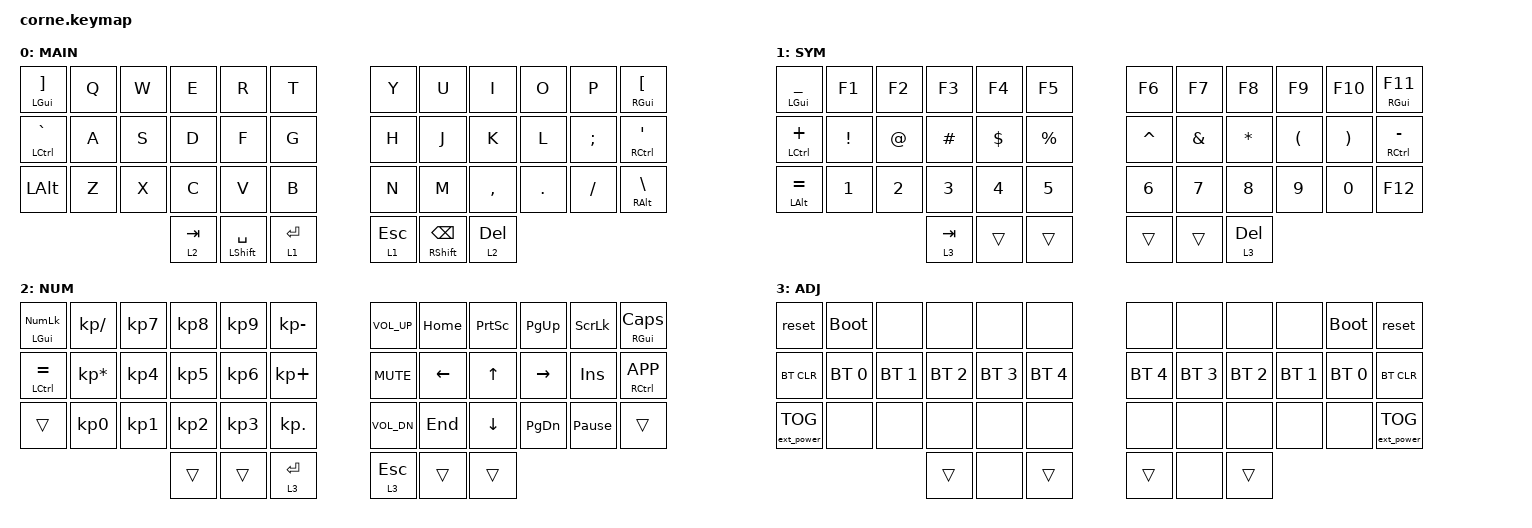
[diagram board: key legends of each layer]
/*
 * Copyright (c) 2020 The ZMK Contributors
 *
 * SPDX-License-Identifier: MIT
 */

#include <behaviors.dtsi>
#include <dt-bindings/zmk/keys.h>
#include <dt-bindings/zmk/bt.h>
#include <dt-bindings/zmk/ext_power.h>

#define DEF 0
#define LWR 1
#define RSE 2
#define ADJ 3

&lt {
    quick_tap_ms = <200>;
};

&mt {
    quick_tap_ms = <200>;
};

/ {
    keymap {
        compatible = "zmk,keymap";

        MAIN {
            label = "MAIN";

            // -----------------------------------------------------------------------------------------
            // |   ~  |  Q  |  W  |  E  |  R  |  T  |   |  Y  |  U   |  I  |  O  |  P  |  [   |
            // | CTRL |  A  |  S  |  D  |  F  |  G  |   |  H  |  J   |  K  |  L  |  ;  |CTRL/'|
            // | LALT |  Z  |  X  |  C  |  V  |  B  |   |  N  |  M   |  ,  |  .  |  /  | RALT |
            //                    | RSE | SPC | LWR |   | LWR | BKSP | RSE |

            bindings = <
   &mt LGUI RBKT   &kp Q   &kp W      &kp E            &kp R      &kp T      &kp Y           &kp U      &kp I    &kp O     &kp P  &mt RGUI LBKT
 &mt LCTRL GRAVE   &kp A   &kp S      &kp D            &kp F      &kp G      &kp H           &kp J      &kp K    &kp L  &kp SEMI  &mt RCTRL SQT
        &kp LALT   &kp Z   &kp X      &kp C            &kp V      &kp B      &kp N           &kp M  &kp COMMA  &kp DOT  &kp FSLH  &mt RALT BSLH
                                  &lt 2 TAB  &mt LSHFT SPACE  &lt 1 RET  &lt 1 ESC  &mt RSHFT BSPC  &lt 2 DEL
            >;
        };

        SYM {
            label = "SYM";

            // -----------------------------------------------------------------------------------------
            // |  _  |  F1 |  F2 |  F3 |  F4 |  F5 |   |  F6 |  F7 |  F8 |  F9 | F10 | F11 | F12 |
            // |  +  |  !  |  @  |  #  |  $  |  %  |   |  ^  |  &  |  *  |  (  |  )  |  -  |
            // |  =  |  1  |  2  |  3  |  4  |  5  |   |  6  |  7  |  8  |  9  |  0  |     |
            //              | GUI |     | SPC |   | ENT |     | ALT |

            bindings = <
 &mt LGUI UNDER    &kp F1  &kp F2     &kp F3    &kp F4     &kp F5     &kp F6    &kp F7     &kp F8    &kp F9   &kp F10     &mt RGUI F11
 &mt LCTRL PLUS  &kp EXCL  &kp AT   &kp HASH  &kp DLLR  &kp PRCNT  &kp CARET  &kp AMPS   &kp STAR  &kp LPAR  &kp RPAR  &mt RCTRL MINUS
 &mt LALT EQUAL    &kp N1  &kp N2     &kp N3    &kp N4     &kp N5     &kp N6    &kp N7     &kp N8    &kp N9    &kp N0          &kp F12
                                   &lt 3 TAB    &trans     &trans     &trans    &trans  &lt 3 DEL
            >;
        };

        NUM {
            label = "NUM";

            // -----------------------------------------------------------------------------------------
            // | NMLK |  /  |  7  |  8  |  9  |  -  |   | VOLU| HOME| PRSC| PGUP| SCLK| CLCK|
            // | CTRL |  *  |  4  |  5  |  6  |  +  |   | MUT | LEFT|  UP | RGHT| INS | APP |
            // |      |  0  |  1  |  2  |  3  |  .  |   | VOLD| END | DOWN| PGDN| PAUS|     |
            //                          |     |     | ADJ |   | ADJ |     |     |

            bindings = <
 &mt LGUI KP_NUM     &kp KP_SLASH  &kp KP_N7  &kp KP_N8  &kp KP_N9  &kp KP_MINUS  &kp C_VOL_UP  &kp HOME  &kp PSCRN  &kp PG_UP         &kp SLCK    &mt RGUI CAPS
 &mt LCTRL EQUAL  &kp KP_MULTIPLY  &kp KP_N4  &kp KP_N5  &kp KP_N6   &kp KP_PLUS    &kp C_MUTE  &kp LEFT     &kp UP  &kp RIGHT          &kp INS  &mt RCTRL K_APP
          &trans        &kp KP_N0  &kp KP_N1  &kp KP_N2  &kp KP_N3    &kp KP_DOT  &kp C_VOL_DN   &kp END   &kp DOWN  &kp PG_DN  &kp PAUSE_BREAK           &trans
                                                 &trans     &trans     &lt 3 RET     &lt 3 ESC    &trans     &trans
            >;
        };

        ADJ {
            label = "ADJ";

            // -----------------------------------------------------------------------------------------
            // | RST  | BLDR|     |     |     |     |   |     |     |     |     | BLDR| RST  |
            // | BTCLR| BT0 | BT1 | BT2 | BT3 | BT4 |   | BT4 | BT3 | BT2 | BT1 | BT0 | BTCLR|
            // |      |     |     |     |     |     |   |     |     |     |     |     |      |
            //                    |     |     |     |   |     |     |     |

            bindings = <
            &reset   &bootloader         &none         &none         &none         &none         &none         &none         &none         &none   &bootloader             &reset
        &bt BT_CLR  &bt BT_SEL 0  &bt BT_SEL 1  &bt BT_SEL 2  &bt BT_SEL 3  &bt BT_SEL 4  &bt BT_SEL 4  &bt BT_SEL 3  &bt BT_SEL 2  &bt BT_SEL 1  &bt BT_SEL 0         &bt BT_CLR
 &ext_power EP_TOG         &none         &none         &none         &none         &none         &none         &none         &none         &none         &none  &ext_power EP_TOG
                                                      &trans         &none        &trans        &trans         &none        &trans
            >;
        };
    };
};
